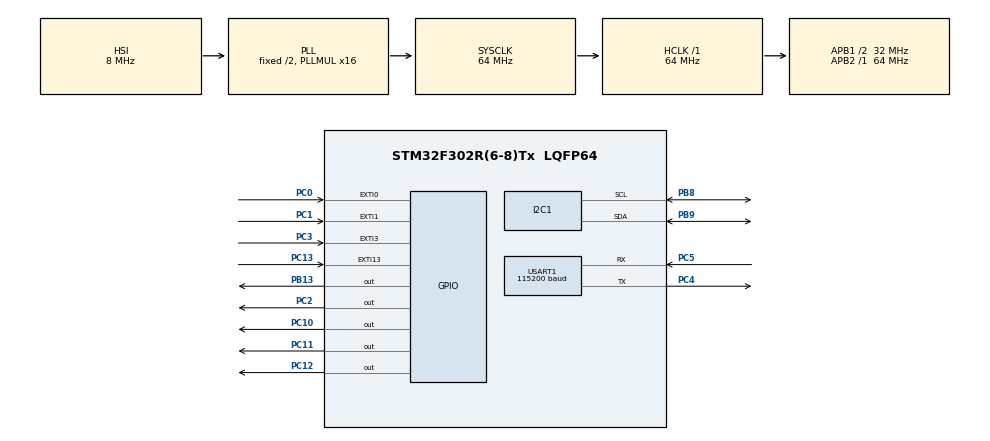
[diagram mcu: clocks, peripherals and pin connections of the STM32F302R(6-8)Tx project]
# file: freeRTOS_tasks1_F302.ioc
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FREERTOS.INCLUDE_eTaskGetState=0
FREERTOS.INCLUDE_xEventGroupSetBitFromISR=1
FREERTOS.INCLUDE_xTimerPendFunctionCall=1
FREERTOS.MEMORY_ALLOCATION=0
FREERTOS.Tasks01=defaultTask,-2,128,StartDefaultTask,Default,NULL,Dynamic,NULL,NULL
FREERTOS.configRECORD_STACK_HIGH_ADDRESS=1
FREERTOS.configTIMER_TASK_STACK_DEPTH=128
FREERTOS.configTOTAL_HEAP_SIZE=5120
FREERTOS.configUSE_COUNTING_SEMAPHORES=1
FREERTOS.configUSE_IDLE_HOOK=1
FREERTOS.configUSE_PREEMPTION=1
FREERTOS.configUSE_TICKLESS_IDLE=2
FREERTOS.configUSE_TICK_HOOK=1
FREERTOS.configUSE_TIMERS=1
Mcu.Family=STM32F3
Mcu.Name=STM32F302R(6-8)Tx
Mcu.Package=LQFP64
NVIC.EXTI0_IRQn=true\:5\:0\:false\:false\:true\:true\:true\:true\:true
NVIC.EXTI15_10_IRQn=true\:5\:0\:false\:false\:true\:true\:true\:true\:true
NVIC.EXTI1_IRQn=true\:5\:0\:false\:false\:true\:true\:true\:true\:true
NVIC.EXTI3_IRQn=true\:5\:0\:false\:false\:true\:true\:true\:true\:true
NVIC.PriorityGroup=NVIC_PRIORITYGROUP_4
NVIC.TIM2_IRQn=true\:15\:0\:false\:false\:true\:false\:false\:true\:true
NVIC.TimeBase=TIM2_IRQn
NVIC.TimeBaseIP=TIM2
PA13.Mode=Serial_Wire
PA13.Signal=SYS_JTMS-SWDIO
PA14.Mode=Serial_Wire
PA14.Signal=SYS_JTCK-SWCLK
PB13.Signal=GPIO_Output
PB8.Mode=I2C
PB8.Signal=I2C1_SCL
PB9.Mode=I2C
PB9.Signal=I2C1_SDA
PC0.GPIO_PuPd=GPIO_PULLDOWN
PC0.Signal=GPXTI0
PC1.GPIO_PuPd=GPIO_PULLDOWN
PC1.Signal=GPXTI1
PC10.GPIO_Speed=GPIO_SPEED_FREQ_LOW
PC10.Signal=GPIO_Output
PC11.GPIO_Speed=GPIO_SPEED_FREQ_MEDIUM
PC11.Signal=GPIO_Output
PC12.GPIO_Speed=GPIO_SPEED_FREQ_HIGH
PC12.Signal=GPIO_Output
PC13.Signal=GPXTI13
PC2.Signal=GPIO_Output
PC3.GPIO_PuPd=GPIO_PULLDOWN
PC3.Signal=GPXTI3
PC4.Mode=Asynchronous
PC4.Signal=USART1_TX
PC5.Mode=Asynchronous
PC5.Signal=USART1_RX
ProjectManager.HeapSize=0x200
ProjectManager.StackSize=0x400
ProjectManager.TargetToolchain=STM32CubeIDE
RCC.AHBFreq_Value=64000000
RCC.APB1CLKDivider=RCC_HCLK_DIV2
RCC.APB1Freq_Value=32000000
RCC.APB1TimFreq_Value=64000000
RCC.APB2Freq_Value=64000000
RCC.APB2TimFreq_Value=64000000
RCC.CortexFreq_Value=64000000
RCC.HCLKFreq_Value=64000000
RCC.HSE_VALUE=8000000
RCC.HSI_VALUE=8000000
RCC.LSE_VALUE=32768
RCC.PLLMUL=RCC_PLL_MUL16
RCC.SYSCLKFreq_VALUE=64000000
RCC.SYSCLKSourceVirtual=RCC_SYSCLKSOURCE_PLLCLK
RCC.USBFreq_Value=64000000
STMicroelectronics.X-CUBE-ALGOBUILD.1.3.0.LibraryCcDSPOoLibraryJjDSPOoLibrary=true
USART1.BaudRate=115200
USART1.VirtualMode-Asynchronous=VM_ASYNC
VP_FREERTOS_VS_CMSIS_V1.Mode=CMSIS_V1
VP_STMicroelectronics.X-CUBE-ALGOBUILD_VS_DSPOoLibraryJjLibrary_1.3.0_1.3.0.Mode=DSPOoLibraryJjLibrary
VP_SYS_VS_tim2.Mode=TIM2
board=custom

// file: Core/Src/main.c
/* USER CODE BEGIN Header */
/**
  ******************************************************************************
  * @file           : main.c
  * @brief          : Main program body
  ******************************************************************************
  * @attention
  *
  * Copyright (c) 2023 STMicroelectronics.
  * All rights reserved.
  *
  * This software is licensed under terms that can be found in the LICENSE file
  * in the root directory of this software component.
  * If no LICENSE file comes with this software, it is provided AS-IS.
  *
  ******************************************************************************
  */
/* USER CODE END Header */
#include "main.h"
#include "cmsis_os.h"

/* USER CODE BEGIN Includes */
#include <stdio.h>
#include <string.h>
/* USER CODE END Includes */

/* USER CODE BEGIN PD */
#define TX_BUFFER_SIZE 10
#define RX_BUFFER_SIZE 10
/* USER CODE END PD */

 I2C_HandleTypeDef hi2c1;

UART_HandleTypeDef huart1;

osThreadId defaultTaskHandle;
/* USER CODE BEGIN PV */
typedef struct
{
	char tx_buffer[TX_BUFFER_SIZE];
	char rx_buffer[RX_BUFFER_SIZE];
	QueueHandle_t queueh;
	char tx;
	char rx;
}buffer_uart;
buffer_uart buffer;

SemaphoreHandle_t Semaphore1;
SemaphoreHandle_t Semaphore2;

EventGroupHandle_t CreatedEventGroup1;
/* USER CODE END PV */

void SystemClock_Config(void);
static void MX_GPIO_Init(void);
static void MX_I2C1_Init(void);
static void MX_USART1_UART_Init(void);
void StartDefaultTask(void const * argument);

/* USER CODE BEGIN PFP */
void sendUSART1( void* buffer_p);
void receiveUSART1(void *buffer_p);
void task_GPIOC10(void);
void task_GPIOC11(void);
void task_GPIOC12(void);
void vApplicationIdleHook( void );
void vApplicationTickHook( void );
void Timer1Callback( TimerHandle_t xTimer );
void HAL_GPIO_EXTI_Callback(uint16_t GPIO_Pin);
void announcement(void);
void announcement2(void);
void taskPC0(void);
void taskPC1(void);
void taskPC3(void);
/* USER CODE END PFP */

int main(void)
{
  /* USER CODE BEGIN 1 */
	memset(buffer.tx_buffer, 65, sizeof(buffer.tx_buffer));
	memset(buffer.rx_buffer, 66, sizeof(buffer.rx_buffer));
	buffer.rx = 0;
	buffer.tx = 0;
  /* USER CODE END 1 */

  /* MCU Configuration--------------------------------------------------------*/

  /* Reset of all peripherals, Initializes the Flash interface and the Systick. */
  HAL_Init();

  /* Configure the system clock */
  SystemClock_Config();

  /* Initialize all configured peripherals */
  MX_GPIO_Init();
  MX_I2C1_Init();
  MX_USART1_UART_Init();
  /* USER CODE BEGIN 2 */
  CreatedEventGroup1 = xEventGroupCreate();

  /* USER CODE END 2 */

  /* USER CODE BEGIN RTOS_SEMAPHORES */
  /* add semaphores, ... */
  Semaphore1 = xSemaphoreCreateBinary();
  Semaphore2 = xSemaphoreCreateCounting(3, 0);
  /* USER CODE END RTOS_SEMAPHORES */

  /* USER CODE BEGIN RTOS_TIMERS */
  /* start timers, add new ones, ... */
  uint32_t pvTimerID_1 = 0;
  TimerHandle_t Timer1;
  Timer1 = xTimerCreate("Timer1", 500, pdTRUE, (void* const)&pvTimerID_1, Timer1Callback);
  xTimerStart(Timer1, 1);
  /* USER CODE END RTOS_TIMERS */

  /* USER CODE BEGIN RTOS_QUEUES */
  /* add queues, ... */
  QueueHandle_t myQueue1;
  myQueue1 = xQueueCreate(40, sizeof(char));
  buffer.queueh = myQueue1;
  /* USER CODE END RTOS_QUEUES */

  /* Create the thread(s) */
  /* definition and creation of defaultTask */
  osThreadDef(defaultTask, StartDefaultTask, osPriorityLow, 0, 128);
  defaultTaskHandle = osThreadCreate(osThread(defaultTask), NULL);

  /* USER CODE BEGIN RTOS_THREADS */
  /* add threads, ... */
  //TaskHandle_t sendUSART1_handle;
  xTaskCreate(sendUSART1, "send data", 64, (void*)&buffer.tx_buffer, 5, NULL);
  //TaskHandle_t receiveUSART1_handle;
  xTaskCreate(receiveUSART1, "receive data", 64, (void*)&buffer.tx_buffer, 5, NULL);
  xTaskCreate(announcement, "announcement", 64, NULL, 6, NULL);
  xTaskCreate(announcement2, "announcement2", 64, NULL, 6, NULL);
  xTaskCreate(taskPC0, "taskPC0", 64, NULL, 6, NULL);
  xTaskCreate(taskPC1, "taskPC1", 64, NULL, 6, NULL);
  xTaskCreate(taskPC3, "taskPC3", 64, NULL, 6, NULL);

  /* USER CODE END RTOS_THREADS */

  /* Start scheduler */
  osKernelStart();

  /* We should never get here as control is now taken by the scheduler */
  /* Infinite loop */
  while (1)
  {

  }
}

void SystemClock_Config(void)
{
  RCC_OscInitTypeDef RCC_OscInitStruct = {0};
  RCC_ClkInitTypeDef RCC_ClkInitStruct = {0};
  RCC_PeriphCLKInitTypeDef PeriphClkInit = {0};

  /** Initializes the RCC Oscillators according to the specified parameters
  * in the RCC_OscInitTypeDef structure.
  */
  RCC_OscInitStruct.OscillatorType = RCC_OSCILLATORTYPE_HSI;
  RCC_OscInitStruct.HSIState = RCC_HSI_ON;
  RCC_OscInitStruct.HSICalibrationValue = RCC_HSICALIBRATION_DEFAULT;
  RCC_OscInitStruct.PLL.PLLState = RCC_PLL_ON;
  RCC_OscInitStruct.PLL.PLLSource = RCC_PLLSOURCE_HSI;
  RCC_OscInitStruct.PLL.PLLMUL = RCC_PLL_MUL16;
  if (HAL_RCC_OscConfig(&RCC_OscInitStruct) != HAL_OK)
  {
    Error_Handler();
  }

  /** Initializes the CPU, AHB and APB buses clocks
  */
  RCC_ClkInitStruct.ClockType = RCC_CLOCKTYPE_HCLK|RCC_CLOCKTYPE_SYSCLK
                              |RCC_CLOCKTYPE_PCLK1|RCC_CLOCKTYPE_PCLK2;
  RCC_ClkInitStruct.SYSCLKSource = RCC_SYSCLKSOURCE_PLLCLK;
  RCC_ClkInitStruct.AHBCLKDivider = RCC_SYSCLK_DIV1;
  RCC_ClkInitStruct.APB1CLKDivider = RCC_HCLK_DIV2;
  RCC_ClkInitStruct.APB2CLKDivider = RCC_HCLK_DIV1;

  if (HAL_RCC_ClockConfig(&RCC_ClkInitStruct, FLASH_LATENCY_2) != HAL_OK)
  {
    Error_Handler();
  }
  PeriphClkInit.PeriphClockSelection = RCC_PERIPHCLK_USART1|RCC_PERIPHCLK_I2C1;
  PeriphClkInit.Usart1ClockSelection = RCC_USART1CLKSOURCE_PCLK1;
  PeriphClkInit.I2c1ClockSelection = RCC_I2C1CLKSOURCE_HSI;
  if (HAL_RCCEx_PeriphCLKConfig(&PeriphClkInit) != HAL_OK)
  {
    Error_Handler();
  }
}

static void MX_I2C1_Init(void)
{

  hi2c1.Instance = I2C1;
  hi2c1.Init.Timing = 0x2000090E;
  hi2c1.Init.OwnAddress1 = 0;
  hi2c1.Init.AddressingMode = I2C_ADDRESSINGMODE_7BIT;
  hi2c1.Init.DualAddressMode = I2C_DUALADDRESS_DISABLE;
  hi2c1.Init.OwnAddress2 = 0;
  hi2c1.Init.OwnAddress2Masks = I2C_OA2_NOMASK;
  hi2c1.Init.GeneralCallMode = I2C_GENERALCALL_DISABLE;
  hi2c1.Init.NoStretchMode = I2C_NOSTRETCH_DISABLE;
  if (HAL_I2C_Init(&hi2c1) != HAL_OK)
  {
    Error_Handler();
  }

  /** Configure Analogue filter
  */
  if (HAL_I2CEx_ConfigAnalogFilter(&hi2c1, I2C_ANALOGFILTER_ENABLE) != HAL_OK)
  {
    Error_Handler();
  }

  /** Configure Digital filter
  */
  if (HAL_I2CEx_ConfigDigitalFilter(&hi2c1, 0) != HAL_OK)
  {
    Error_Handler();
  }

}

static void MX_USART1_UART_Init(void)
{

  huart1.Instance = USART1;
  huart1.Init.BaudRate = 115200;
  huart1.Init.WordLength = UART_WORDLENGTH_8B;
  huart1.Init.StopBits = UART_STOPBITS_1;
  huart1.Init.Parity = UART_PARITY_NONE;
  huart1.Init.Mode = UART_MODE_TX_RX;
  huart1.Init.HwFlowCtl = UART_HWCONTROL_NONE;
  huart1.Init.OverSampling = UART_OVERSAMPLING_16;
  huart1.Init.OneBitSampling = UART_ONE_BIT_SAMPLE_DISABLE;
  huart1.AdvancedInit.AdvFeatureInit = UART_ADVFEATURE_NO_INIT;
  if (HAL_UART_Init(&huart1) != HAL_OK)
  {
    Error_Handler();
  }

}

static void MX_GPIO_Init(void)
{
  GPIO_InitTypeDef GPIO_InitStruct = {0};

  /* GPIO Ports Clock Enable */
  __HAL_RCC_GPIOC_CLK_ENABLE();
  __HAL_RCC_GPIOB_CLK_ENABLE();
  __HAL_RCC_GPIOA_CLK_ENABLE();

  /*Configure GPIO pin Output Level */
  HAL_GPIO_WritePin(GPIOC, GPIO_PIN_2|GPIO_PIN_10|GPIO_PIN_11|GPIO_PIN_12, GPIO_PIN_RESET);

  /*Configure GPIO pin Output Level */
  HAL_GPIO_WritePin(GPIOB, GPIO_PIN_13, GPIO_PIN_RESET);

  /*Configure GPIO pin : PC13 */
  GPIO_InitStruct.Pin = GPIO_PIN_13;
  GPIO_InitStruct.Mode = GPIO_MODE_IT_RISING;
  GPIO_InitStruct.Pull = GPIO_NOPULL;
  HAL_GPIO_Init(GPIOC, &GPIO_InitStruct);

  /*Configure GPIO pins : PC0 PC1 PC3 */
  GPIO_InitStruct.Pin = GPIO_PIN_0|GPIO_PIN_1|GPIO_PIN_3;
  GPIO_InitStruct.Mode = GPIO_MODE_IT_RISING;
  GPIO_InitStruct.Pull = GPIO_PULLDOWN;
  HAL_GPIO_Init(GPIOC, &GPIO_InitStruct);

  /*Configure GPIO pins : PC2 PC10 */
  GPIO_InitStruct.Pin = GPIO_PIN_2|GPIO_PIN_10;
  GPIO_InitStruct.Mode = GPIO_MODE_OUTPUT_PP;
  GPIO_InitStruct.Pull = GPIO_NOPULL;
  GPIO_InitStruct.Speed = GPIO_SPEED_FREQ_LOW;
  HAL_GPIO_Init(GPIOC, &GPIO_InitStruct);

  /*Configure GPIO pin : PB13 */
  GPIO_InitStruct.Pin = GPIO_PIN_13;
  GPIO_InitStruct.Mode = GPIO_MODE_OUTPUT_PP;
  GPIO_InitStruct.Pull = GPIO_NOPULL;
  GPIO_InitStruct.Speed = GPIO_SPEED_FREQ_LOW;
  HAL_GPIO_Init(GPIOB, &GPIO_InitStruct);

  /*Configure GPIO pin : PC11 */
  GPIO_InitStruct.Pin = GPIO_PIN_11;
  GPIO_InitStruct.Mode = GPIO_MODE_OUTPUT_PP;
  GPIO_InitStruct.Pull = GPIO_NOPULL;
  GPIO_InitStruct.Speed = GPIO_SPEED_FREQ_MEDIUM;
  HAL_GPIO_Init(GPIOC, &GPIO_InitStruct);

  /*Configure GPIO pin : PC12 */
  GPIO_InitStruct.Pin = GPIO_PIN_12;
  GPIO_InitStruct.Mode = GPIO_MODE_OUTPUT_PP;
  GPIO_InitStruct.Pull = GPIO_NOPULL;
  GPIO_InitStruct.Speed = GPIO_SPEED_FREQ_HIGH;
  HAL_GPIO_Init(GPIOC, &GPIO_InitStruct);

  /* EXTI interrupt init*/
  HAL_NVIC_SetPriority(EXTI0_IRQn, 5, 0);
  HAL_NVIC_EnableIRQ(EXTI0_IRQn);

  HAL_NVIC_SetPriority(EXTI1_IRQn, 5, 0);
  HAL_NVIC_EnableIRQ(EXTI1_IRQn);

  HAL_NVIC_SetPriority(EXTI3_IRQn, 5, 0);
  HAL_NVIC_EnableIRQ(EXTI3_IRQn);

  HAL_NVIC_SetPriority(EXTI15_10_IRQn, 5, 0);
  HAL_NVIC_EnableIRQ(EXTI15_10_IRQn);

}

/* USER CODE BEGIN 4 */
void sendUSART1( void* buffer_p)
{
	buffer_uart* buffer_pp;
	for( ;; )
	{
		HAL_GPIO_TogglePin(GPIOC, GPIO_PIN_10);
		buffer_pp = buffer_p;
		xQueueReceive(buffer_pp->queueh, &buffer_pp->tx, portMAX_DELAY);
		HAL_UART_Transmit(&huart1, (uint8_t*) &buffer_pp->tx, sizeof(buffer_pp->tx), 100);
		vTaskDelay(200);
		HAL_GPIO_TogglePin(GPIOC, GPIO_PIN_10);
	}
	 vTaskDelete(xTaskGetHandle("send data"));
}

void receiveUSART1( void * buffer_p)
{
	buffer_uart* buffer_pp;
	for( ;; )
	{
		HAL_GPIO_TogglePin(GPIOC, GPIO_PIN_11);
		buffer_pp = buffer_p;
		if( HAL_UART_Receive(&huart1, &buffer_pp->rx, 1, 1) == HAL_OK)
		{
			xQueueSend(buffer_pp->queueh, &buffer_pp->rx, 1);
		}
		vTaskDelay(40);
		HAL_GPIO_TogglePin(GPIOC, GPIO_PIN_11);
	}
	 vTaskDelete(xTaskGetHandle("receive data"));
}

void vApplicationIdleHook( void )
{
	HAL_GPIO_TogglePin(GPIOC, GPIO_PIN_12);
	//HAL_PWR_EnterSLEEPMode(PWR_MAINREGULATOR_ON, PWR_SLEEPENTRY_WFE);
	HAL_GPIO_TogglePin(GPIOC, GPIO_PIN_12);
}

void vApplicationTickHook( void )
{
	HAL_GPIO_WritePin(GPIOC, GPIO_PIN_2, 1);
	HAL_GPIO_WritePin(GPIOC, GPIO_PIN_2, 0);
}

void Timer1Callback( TimerHandle_t xTimer )
{
	HAL_GPIO_TogglePin(GPIOB, GPIO_PIN_13);
	const uint32_t maxCount = 10;
	uint32_t count;
	count = (uint32_t) pvTimerGetTimerID(xTimer);
	count++;
	if(count >= maxCount)
	{
		count = 0;
		char message[] = {"Timer1\r\n"};
		for(int i = 0; i<sizeof(message); i++)
		{
			xQueueSendToBack(buffer.queueh, (void* const) &message[i], 1);
		}
	}
	vTimerSetTimerID(xTimer, (void*) count);
	HAL_GPIO_TogglePin(GPIOB, GPIO_PIN_13);
}

void HAL_GPIO_EXTI_Callback(uint16_t GPIO_Pin)
{
	if(GPIO_Pin == GPIO_PIN_13)
	{
		xSemaphoreGiveFromISR( Semaphore1, NULL );
		xSemaphoreGiveFromISR( Semaphore2, NULL );
	}
	if(GPIO_Pin == GPIO_PIN_0)
	{
		BaseType_t HigherPriorityTaskWoken;
		xEventGroupSetBitsFromISR(CreatedEventGroup1, 0x1, &HigherPriorityTaskWoken);
		portYIELD_FROM_ISR(HigherPriorityTaskWoken);

	}
	if(GPIO_Pin == GPIO_PIN_1)
	{
		BaseType_t HigherPriorityTaskWoken;
		xEventGroupSetBitsFromISR(CreatedEventGroup1, 0x2, &HigherPriorityTaskWoken);
		portYIELD_FROM_ISR(HigherPriorityTaskWoken);
	}
	if(GPIO_Pin == GPIO_PIN_3)
	{
		BaseType_t HigherPriorityTaskWoken;
		xEventGroupSetBitsFromISR(CreatedEventGroup1, 0x3, &HigherPriorityTaskWoken);
		portYIELD_FROM_ISR(HigherPriorityTaskWoken);
	}
}

void announcement(void)
{
	for( ;; )
	{
		xSemaphoreTake(Semaphore1, portMAX_DELAY);
		char message[] = {"ANNOUNCEMENT\r\n"};
		vTaskDelay(pdMS_TO_TICKS(800));
		xSemaphoreTake(Semaphore1, 1); // Takes a Semaphore1 because the button on PC13 may have noise
		for(int i = 0; i<sizeof(message); i++)
		{
			xQueueSendToBack(buffer.queueh, (void* const) &message[i], 1);
		}
		taskYIELD();
	}
}

void announcement2(void)
{
	for( ;; )
	{
		xSemaphoreTake(Semaphore2, portMAX_DELAY);
		char message[] = {"sem2\r\n"};
		vTaskDelay(pdMS_TO_TICKS(1500));
		for(int i = 0; i<sizeof(message); i++)
		{
			xQueueSendToBack(buffer.queueh, (void* const) &message[i], 1);
		}
		taskYIELD();
	}
}

void taskPC0(void)
{
	for( ;; )
	{
		xEventGroupWaitBits(CreatedEventGroup1, 0x1, pdTRUE, pdTRUE, portMAX_DELAY);
		char message[] = {"taskPC0\r\n"};
		vTaskDelay(pdMS_TO_TICKS(500));
		for(int i = 0; i<sizeof(message); i++)
		{
			xQueueSendToBack(buffer.queueh, (void* const) &message[i], 1);
		}
		taskYIELD();
	}
}
void taskPC1(void)
{
	for( ;; )
	{
		xEventGroupWaitBits(CreatedEventGroup1, 0x2, pdTRUE, pdTRUE, portMAX_DELAY);
		char message[] = {"taskPC1\r\n"};
		vTaskDelay(pdMS_TO_TICKS(500));
		for(int i = 0; i<sizeof(message); i++)
		{
			xQueueSendToBack(buffer.queueh, (void* const) &message[i], 1);
		}
		taskYIELD();
	}
}
void taskPC3(void)
{
	for( ;; )
	{
		xEventGroupWaitBits(CreatedEventGroup1, 0x3, pdTRUE, pdTRUE, portMAX_DELAY);
		char message[] = {"taskPC3\r\n"};
		vTaskDelay(pdMS_TO_TICKS(500));
		for(int i = 0; i<sizeof(message); i++)
		{
			xQueueSendToBack(buffer.queueh, (void* const) &message[i], 1);
		}
		taskYIELD();
	}
}
/* USER CODE END 4 */

void StartDefaultTask(void const * argument)
{
  /* USER CODE BEGIN 5 */
  /* Infinite loop */
  for(;;)
  {
    osDelay(3);
  }
  /* USER CODE END 5 */
}

void HAL_TIM_PeriodElapsedCallback(TIM_HandleTypeDef *htim)
{
  if (htim->Instance == TIM2) {
    HAL_IncTick();
  }
}

void Error_Handler(void)
{
  __disable_irq();
  while (1)
  {
  }
}

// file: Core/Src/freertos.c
/* USER CODE BEGIN Header */
/**
  ******************************************************************************
  * File Name          : freertos.c
  * Description        : Code for freertos applications
  ******************************************************************************
  * @attention
  *
  * Copyright (c) 2023 STMicroelectronics.
  * All rights reserved.
  *
  * This software is licensed under terms that can be found in the LICENSE file
  * in the root directory of this software component.
  * If no LICENSE file comes with this software, it is provided AS-IS.
  *
  ******************************************************************************
  */
/* USER CODE END Header */

#include "FreeRTOS.h"
#include "task.h"
#include "main.h"

/* Hook prototypes */
void vApplicationIdleHook(void);
void vApplicationTickHook(void);

/* USER CODE BEGIN 2 */
__weak void vApplicationIdleHook( void )
{
   /* vApplicationIdleHook() will only be called if configUSE_IDLE_HOOK is set
   to 1 in FreeRTOSConfig.h. It will be called on each iteration of the idle
   task. It is essential that code added to this hook function never attempts
   to block in any way (for example, call xQueueReceive() with a block time
   specified, or call vTaskDelay()). If the application makes use of the
   vTaskDelete() API function (as this demo application does) then it is also
   important that vApplicationIdleHook() is permitted to return to its calling
   function, because it is the responsibility of the idle task to clean up
   memory allocated by the kernel to any task that has since been deleted. */
}
/* USER CODE END 2 */

/* USER CODE BEGIN 3 */
__weak void vApplicationTickHook( void )
{
   /* This function will be called by each tick interrupt if
   configUSE_TICK_HOOK is set to 1 in FreeRTOSConfig.h. User code can be
   added here, but the tick hook is called from an interrupt context, so
   code must not attempt to block, and only the interrupt safe FreeRTOS API
   functions can be used (those that end in FromISR()). */
}
/* USER CODE END 3 */

/* USER CODE BEGIN VPORT_SUPPORT_TICKS_AND_SLEEP */
__weak void vPortSuppressTicksAndSleep( TickType_t xExpectedIdleTime )
{
  // Generated when configUSE_TICKLESS_IDLE == 2.
  // Function called in tasks.c (in portTASK_FUNCTION).
  // TO BE COMPLETED or TO BE REPLACED by a user one, overriding that weak one.
}
/* USER CODE END VPORT_SUPPORT_TICKS_AND_SLEEP */
